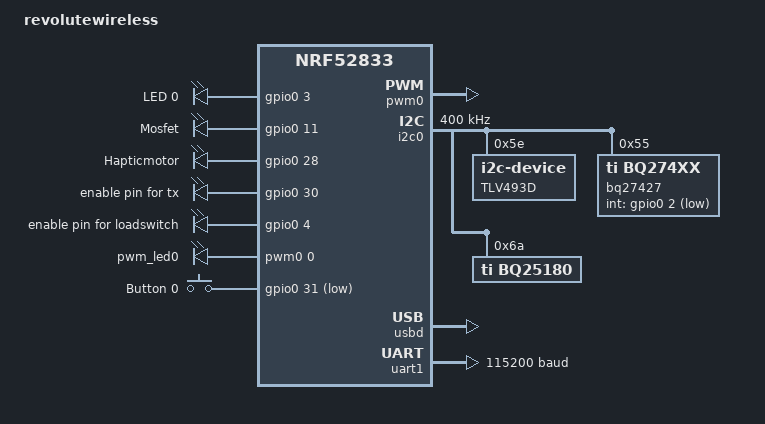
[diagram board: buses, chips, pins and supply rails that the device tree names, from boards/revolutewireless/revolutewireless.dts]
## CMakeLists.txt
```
# SPDX-License-Identifier: Apache-2.0

cmake_minimum_required(VERSION 3.20.0)

find_package(Zephyr REQUIRED HINTS $ENV{ZEPHYR_BASE})
project(Revolute)


add_subdirectory(src)


zephyr_include_directories(src)
zephyr_include_directories(config)
```

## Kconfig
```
#
# Copyright (c) 2020 Nordic Semiconductor ASA
#
# SPDX-License-Identifier: LicenseRef-Nordic-5-Clause
#

menu "I2C Scanner settings"
config I2C_SCAN_ADDR_START
	int "First address to start scanning I2C devices."
	default 8

config I2C_SCAN_ADDR_STOP
	int "Last address for scanning I2C devices."
	default 127
endmenu

module = I2CScanner
module-str = I2C Scanner Demo Application
source "${ZEPHYR_BASE}/subsys/logging/Kconfig.template.log_config"

menu "Zephyr Kernel"
source "Kconfig.zephyr"
endmenu
```

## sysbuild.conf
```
# Sysbuild configuration file.

# Enable MCUboot per default for this sample.
# SB_CONFIG_BOOTLOADER_MCUBOOT=y
# SB_CONFIG_BOOT_SIGNATURE_KEY_FILE="bootloader/mcuboot/root-rsa-2048.pem"
```

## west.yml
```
manifest:
  remotes:
    - name: zephyrproject-rtos
      url-base: https://github.com/zephyrproject-rtos
  projects:
    - name: zephyr
      repo-path: zephyr
      remote: zephyrproject-rtos
      revision: main
      import:
        name-blocklist:
          - matter
          - nrf-802154
          - cjson
          - cmock
          - unity
          - cddl-gen
          - homekit
          - loramac-node
          - lz4
          - lvgl
          - hal_atmel
          - hal_espressif
          - hal_ethos_u
          - hal_altera
          - hal_quicklogic
          - hal_openisa
          - hal_rpi_pico
          - hal_renesas
          - hal_silabs
          - hal_st
          - hal_stm32
          - hal_infineon
          - hal_intel
          - hal_microchip
          - hal_ambiq
          - hal_altera
          - hal_adi
```

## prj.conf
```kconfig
CONFIG_LOG=y

CONFIG_PWM=y

CONFIG_LED=y

# CONFIG_LOG_MODE_IMMEDIATE=y

CONFIG_I2C=y

# Picolibc, not newlib: the OTA build has to fit in slot0 (220 KB usable) and
# newlib costs ~22 KB more, which overflows the slot. Float printf is off with
# it; logging is disabled here anyway, so re-enable CONFIG_PICOLIBC_IO_FLOAT=y
# for bench builds that print floats.
CONFIG_PICOLIBC=y

CONFIG_PM=y
CONFIG_PM_DEVICE=y
CONFIG_PM_DEVICE_SHELL=y
CONFIG_POWEROFF=y

#Base bluetooth settings
# CONFIG_BT=y
# CONFIG_BT_SMP=y
# CONFIG_BT_SMP_SC_PAIR_ONLY=y
# CONFIG_BT_SMP_SC_ONLY=y
# CONFIG_BT_SMP_APP_PAIRING_ACCEPT=y

# CONFIG_BT_PERIPHERAL=y
# CONFIG_BT_DIS=y
CONFIG_BT_BAS=y
CONFIG_BT_DEVICE_NAME="Revolute"
# CONFIG_BT_DEVICE_APPEARANCE=962
CONFIG_BT_FILTER_ACCEPT_LIST=y
# CONFIG_BT_MAX_CONN=1
# CONFIG_BT_MAX_PAIRED=1
# CONFIG_BT_KEYS_OVERWRITE_OLDEST=y
# CONFIG_BT_SIGNING=y
# CONFIG_BT_ATT_PREPARE_COUNT=1


# CONFIG_BT_PRIVACY=n
# For bonding
CONFIG_BT_SETTINGS=y
CONFIG_NVS=y
CONFIG_SETTINGS_NVS=y
CONFIG_FLASH=y
CONFIG_FLASH_MAP=y
CONFIG_SETTINGS=y

# # Change bluetooth name
CONFIG_BT_DEVICE_NAME_DYNAMIC=y
CONFIG_BT_DEVICE_NAME_MAX=30
CONFIG_MAIN_STACK_SIZE=16384
CONFIG_BT_RX_STACK_SIZE=16384
CONFIG_SYSTEM_WORKQUEUE_STACK_SIZE=4096

CONFIG_BT=y
CONFIG_LOG=y
CONFIG_BT_SMP=y
CONFIG_BT_PERIPHERAL=y
# CONFIG_BT_DIS=y
# CONFIG_BT_BAS=y
# CONFIG_BT_DEVICE_NAME="Test HoG mouse"
CONFIG_BT_DEVICE_APPEARANCE=962

# CONFIG_BT_LL_SW_SPLIT=y
# CONFIG_BT_CTLR_ASSERT_HANDLER=y
CONFIG_WATCHDOG=y
# Enable nRF52 watchdog driver
CONFIG_WDT_NRFX=y

# Optional: disable watchdog at boot (leave out to allow rebooting on crash)
CONFIG_WDT_DISABLE_AT_BOOT=n
CONFIG_SENSOR=y


#Charger ic
CONFIG_CHARGER=y
CONFIG_CHARGER_LOG_LEVEL_DBG=y
#CONFIG_GPIO=y
CONFIG_CHARGER_BQ25180=y

# CONFIG_UART_CONSOLE=n
# CONFIG_RTT_CONSOLE=y
# CONFIG_USE_SEGGER_RTT=y


CONFIG_LOG=n
CONFIG_LOG_MODE_IMMEDIATE=n
CONFIG_LOG_BACKEND_UART=n
CONFIG_LOG_BACKEND_SHOW_COLOR=n
CONFIG_SERIAL=n
CONFIG_USB_DEVICE_STACK=n
CONFIG_USB_CDC_ACM=n
CONFIG_USB_DEVICE_VID=0x6969
CONFIG_USB_DEVICE_PID=0x6969
CONFIG_USB_DEVICE_INITIALIZE_AT_BOOT=n
CONFIG_USB_DEVICE_MANUFACTURER="Tongtong.inc"
CONFIG_USB_DEVICE_PRODUCT="Revolute"
CONFIG_CONSOLE=n
CONFIG_UART_CONSOLE=n
CONFIG_PRINTK=n
CONFIG_STDOUT_CONSOLE=n
CONFIG_CBPRINTF_FP_SUPPORT=n


# CONFIG_LOG=y
# CONFIG_LOG_MODE_IMMEDIATE=y
# CONFIG_LOG_BACKEND_UART=y
# CONFIG_LOG_BACKEND_SHOW_COLOR=y
# CONFIG_SERIAL=y
# CONFIG_USB_DEVICE_STACK=y
# CONFIG_USB_CDC_ACM=y
# CONFIG_USB_DEVICE_VID=0x6969
# CONFIG_USB_DEVICE_PID=0x6969
# CONFIG_USB_DEVICE_INITIALIZE_AT_BOOT=y
# CONFIG_USB_DEVICE_MANUFACTURER="Tongtong.inc"
# CONFIG_USB_DEVICE_PRODUCT="Revolute"
# CONFIG_CONSOLE=y
# CONFIG_UART_CONSOLE=y
# CONFIG_PRINTK=y
# CONFIG_STDOUT_CONSOLE=y
# CONFIG_CBPRINTF_FP_SUPPORT=y



CONFIG_BT_GATT_CLIENT=y
CONFIG_BT_GATT_DYNAMIC_DB=y

# Buffers (new scheme for Zephyr 4.1+)
CONFIG_BT_BUF_ACL_TX_COUNT=10          
CONFIG_BT_BUF_EVT_RX_COUNT=12          

# ACL buffer size (max payload 251)
CONFIG_BT_BUF_ACL_TX_SIZE=251

# ATT / L2CAP tuning
CONFIG_BT_ATT_TX_COUNT=10
CONFIG_BT_L2CAP_TX_MTU=247
CONFIG_BT_DATA_LEN_UPDATE=y

# Connection interval for high throughput (min 7.5ms).
# A min==max range is commonly rejected outright by centrals, so advertise a
# range instead; ble.c re-requests explicitly if the granted interval is slower.
CONFIG_BT_PERIPHERAL_PREF_MIN_INT=6
CONFIG_BT_PERIPHERAL_PREF_MAX_INT=12
CONFIG_BT_PERIPHERAL_PREF_LATENCY=0
CONFIG_BT_PERIPHERAL_PREF_TIMEOUT=400

# Power
# REG1 DC/DC mode is enabled in the board devicetree (&reg1) and applied by the
# nRF52 SoC init from that property; no extra Kconfig needed.

# Fuel gauge power management. Without this the BQ27427 sits in its normal
# operating mode drawing ~100uA forever, which swamps the System OFF budget.
CONFIG_BQ274XX_PM=y

# ---------------------------------------------------------------------------
# OTA (MCUboot + MCUmgr over Bluetooth)
#
# Built with sysbuild, which pulls in MCUboot from sysbuild.conf. The image is
# signed and placed in slot0; mcumgr writes the update into slot1 and MCUboot
# swaps on the next boot. Flash layout comes from the board devicetree
# (boot/slot0/slot1/storage partitions).
# ---------------------------------------------------------------------------

# MCUmgr dependencies
CONFIG_NET_BUF=y
CONFIG_ZCBOR=y
CONFIG_CRC=y
CONFIG_MCUMGR=y
CONFIG_STREAM_FLASH=y
CONFIG_FLASH_PAGE_LAYOUT=y

# Produce an MCUboot-compatible (signed, confirmed) image named revolute.*
CONFIG_BOOTLOADER_MCUBOOT=y
CONFIG_MCUBOOT_GENERATE_CONFIRMED_IMAGE=y
CONFIG_KERNEL_BIN_NAME="revolute"

# Image management group — the one OTA actually needs
CONFIG_IMG_MANAGER=y
CONFIG_MCUMGR_GRP_IMG=y
CONFIG_MCUMGR_GRP_OS=y

# Bluetooth transport (unauthenticated, matching the previous OTA build)
CONFIG_MCUMGR_TRANSPORT_BT=y
CONFIG_MCUMGR_TRANSPORT_BT_PERM_RW=y
CONFIG_MCUMGR_TRANSPORT_BT_PERM_RW_AUTHEN=n
CONFIG_MCUMGR_TRANSPORT_BT_CONN_PARAM_CONTROL=y

# Packet reassembly keeps DFU throughput usable at the HID-tuned MTU above
CONFIG_MCUMGR_TRANSPORT_BT_REASSEMBLY=y
CONFIG_MCUMGR_TRANSPORT_NETBUF_SIZE=2475
CONFIG_MCUMGR_GRP_OS_MCUMGR_PARAMS=y
CONFIG_MCUMGR_TRANSPORT_WORKQUEUE_STACK_SIZE=4608
```

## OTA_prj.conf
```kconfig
CONFIG_GPIO=y


# Enable MCUmgr and dependencies.
CONFIG_NET_BUF=y
CONFIG_ZCBOR=y
CONFIG_CRC=y
CONFIG_MCUMGR=y
CONFIG_STREAM_FLASH=y
CONFIG_FLASH_MAP=y

# Some command handlers require a large stack.
CONFIG_SYSTEM_WORKQUEUE_STACK_SIZE=2304
CONFIG_MAIN_STACK_SIZE=2048

# Ensure an MCUboot-compatible binary is generated.
CONFIG_BOOTLOADER_MCUBOOT=y

# Required by the `taskstat` command.
CONFIG_THREAD_MONITOR=n

# Support for taskstat command
CONFIG_MCUMGR_GRP_OS_TASKSTAT=n

# Enable statistics and statistic names.
CONFIG_STATS=n
CONFIG_STATS_NAMES=n

# Enable most core commands.
CONFIG_FLASH=y
CONFIG_IMG_MANAGER=y
CONFIG_MCUMGR_GRP_IMG=y
CONFIG_MCUMGR_GRP_OS=y
CONFIG_MCUMGR_GRP_STAT=y

# Enable logging
CONFIG_LOG=y
CONFIG_MCUBOOT_UTIL_LOG_LEVEL_WRN=y

# Disable debug logging
CONFIG_LOG_MAX_LEVEL=3


CONFIG_BT=y
CONFIG_BT_PERIPHERAL=y
CONFIG_BT_DEVICE_NAME="Revolute"

#for bonding
CONFIG_BT_SETTINGS=y
CONFIG_NVS=y
CONFIG_SETTINGS=y
CONFIG_BT_SMP_SC_PAIR_ONLY=y
CONFIG_BT_MAX_PAIRED=3
# CONFIG_FLASH_PAGE_LAYOUT=y
CONFIG_BT_SMP=y
CONFIG_BT_MAX_CONN=1
CONFIG_BT_SMP_ALLOW_UNAUTH_OVERWRITE=y

# Allow for large Bluetooth data packets.
CONFIG_BT_L2CAP_TX_MTU=1000
CONFIG_BT_BUF_ACL_RX_SIZE=502
CONFIG_BT_BUF_ACL_TX_SIZE=502
CONFIG_BT_CTLR_DATA_LENGTH_MAX=251

# Enable the Bluetooth mcumgr transport (unauthenticated).
CONFIG_MCUMGR_TRANSPORT_BT=y
CONFIG_MCUMGR_TRANSPORT_BT_PERM_RW=y
CONFIG_MCUMGR_TRANSPORT_BT_PERM_RW_AUTHEN=n
CONFIG_MCUMGR_TRANSPORT_BT_CONN_PARAM_CONTROL=y


# Enable the mcumgr Packet Reassembly feature over Bluetooth and its configuration dependencies.
# MCUmgr buffer size is optimized to fit one SMP packet divided into five Bluetooth Write Commands,
# transmitted with the maximum possible MTU value: 498 bytes.
CONFIG_MCUMGR_TRANSPORT_BT_REASSEMBLY=y
CONFIG_MCUMGR_TRANSPORT_NETBUF_SIZE=2475
CONFIG_MCUMGR_GRP_OS_MCUMGR_PARAMS=y
CONFIG_MCUMGR_TRANSPORT_WORKQUEUE_STACK_SIZE=4608

# Enable the LittleFS file system.
# CONFIG_FILE_SYSTEM=y
# CONFIG_FILE_SYSTEM_LITTLEFS=y

# Enable file system commands
CONFIG_MCUMGR_GRP_FS=y

# Enable the storage erase command.
CONFIG_MCUMGR_GRP_ZBASIC=y
CONFIG_MCUMGR_GRP_ZBASIC_STORAGE_ERASE=y

# Disable Bluetooth ping support
CONFIG_BT_CTLR_LE_PING=n

# Disable shell commands that are not needed
CONFIG_CLOCK_CONTROL_NRF_SHELL=n
CONFIG_DEVICE_SHELL=n
CONFIG_DEVMEM_SHELL=n
CONFIG_FLASH_SHELL=n

#MCUBoot
CONFIG_BOOTLOADER_MCUBOOT=y
CONFIG_MCUBOOT_GENERATE_CONFIRMED_IMAGE=y
CONFIG_KERNEL_BIN_NAME="revolute"

#logging
CONFIG_LOG=y
CONFIG_LOG_MODE_IMMEDIATE=y
CONFIG_LOG_BACKEND_UART=y
CONFIG_LOG_BACKEND_SHOW_COLOR=y
CONFIG_SERIAL=n
CONFIG_USB_DEVICE_STACK=n #disable when run out of rom
CONFIG_USB_CDC_ACM=n
CONFIG_USB_DEVICE_VID=0x6969
CONFIG_USB_DEVICE_PID=0x6969
CONFIG_USB_DEVICE_INITIALIZE_AT_BOOT=y
CONFIG_USB_DEVICE_MANUFACTURER="Tongtong.inc"
CONFIG_USB_DEVICE_PRODUCT="Revolute"
CONFIG_CONSOLE=y
CONFIG_UART_CONSOLE=y
CONFIG_PRINTK=n
CONFIG_STDOUT_CONSOLE=n

# CONFIG_THREAD_STACK_INFO=n
# CONFIG_THREAD_CUSTOM_DATA=n
# CONFIG_FPU=n
# CONFIG_SPI=n
# CONFIG_DYNAMIC_INTERRUPTS=n
# CONFIG_IRQ_OFFLOAD=n
# CONFIG_WATCHDOG=n
# CONFIG_SIZE_OPTIMIZATIONS=y
# CONFIG_ARM_MPU=n
# CONFIG_I2C=y
# CONFIG_SENSOR=y
```

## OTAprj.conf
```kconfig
CONFIG_GPIO=y


# Enable MCUmgr and dependencies.
CONFIG_NET_BUF=y
CONFIG_ZCBOR=y
CONFIG_CRC=y
CONFIG_MCUMGR=y
CONFIG_STREAM_FLASH=y
CONFIG_FLASH_MAP=y

# Some command handlers require a large stack.
CONFIG_SYSTEM_WORKQUEUE_STACK_SIZE=2304
CONFIG_MAIN_STACK_SIZE=4096

# Ensure an MCUboot-compatible binary is generated.
CONFIG_BOOTLOADER_MCUBOOT=y

# Required by the `taskstat` command.
CONFIG_THREAD_MONITOR=y

# Support for taskstat command
CONFIG_MCUMGR_GRP_OS_TASKSTAT=y

# Enable statistics and statistic names.
CONFIG_STATS=y
CONFIG_STATS_NAMES=y

# Enable most core commands.
CONFIG_FLASH=y
CONFIG_IMG_MANAGER=y
CONFIG_MCUMGR_GRP_IMG=y
CONFIG_MCUMGR_GRP_OS=y
CONFIG_MCUMGR_GRP_STAT=y

# Enable logging
CONFIG_LOG=y
CONFIG_MCUBOOT_UTIL_LOG_LEVEL_WRN=y

# Disable debug logging
CONFIG_LOG_MAX_LEVEL=4


CONFIG_BT=y
CONFIG_BT_PERIPHERAL=y
CONFIG_BT_DEVICE_NAME="Revolute"

#for bonding
CONFIG_BT_SETTINGS=y
CONFIG_NVS=y
CONFIG_SETTINGS=y
CONFIG_BT_SMP_SC_PAIR_ONLY=y
CONFIG_SETTINGS_NVS=y
CONFIG_BT_MAX_PAIRED=3
CONFIG_FLASH_PAGE_LAYOUT=y
CONFIG_BT_SMP=y
CONFIG_BT_MAX_CONN=1
# CONFIG_BT_SMP_ALLOW_UNAUTH_OVERWRITE=y

# Allow for large Bluetooth data packets.
CONFIG_BT_L2CAP_TX_MTU=1000
CONFIG_BT_BUF_ACL_RX_SIZE=502
CONFIG_BT_BUF_ACL_TX_SIZE=502
CONFIG_BT_CTLR_DATA_LENGTH_MAX=251

# Enable the Bluetooth mcumgr transport (unauthenticated).
CONFIG_MCUMGR_TRANSPORT_BT=y
CONFIG_MCUMGR_TRANSPORT_BT_PERM_RW=y
CONFIG_MCUMGR_TRANSPORT_BT_PERM_RW_AUTHEN=n
CONFIG_MCUMGR_TRANSPORT_BT_CONN_PARAM_CONTROL=y


# Enable the mcumgr Packet Reassembly feature over Bluetooth and its configuration dependencies.
# MCUmgr buffer size is optimized to fit one SMP packet divided into five Bluetooth Write Commands,
# transmitted with the maximum possible MTU value: 498 bytes.
CONFIG_MCUMGR_TRANSPORT_BT_REASSEMBLY=y
CONFIG_MCUMGR_TRANSPORT_NETBUF_SIZE=2475
CONFIG_MCUMGR_GRP_OS_MCUMGR_PARAMS=y
CONFIG_MCUMGR_TRANSPORT_WORKQUEUE_STACK_SIZE=4608

# Enable the LittleFS file system.
# CONFIG_FILE_SYSTEM=y
# CONFIG_FILE_SYSTEM_LITTLEFS=y

# Enable file system commands
CONFIG_MCUMGR_GRP_FS=y

# Enable the storage erase command.
CONFIG_MCUMGR_GRP_ZBASIC=y
CONFIG_MCUMGR_GRP_ZBASIC_STORAGE_ERASE=y

# Disable Bluetooth ping support
CONFIG_BT_CTLR_LE_PING=n

# Disable shell commands that are not needed
CONFIG_CLOCK_CONTROL_NRF_SHELL=n
CONFIG_DEVICE_SHELL=n
CONFIG_DEVMEM_SHELL=n
CONFIG_FLASH_SHELL=n

#MCUBoot
CONFIG_BOOTLOADER_MCUBOOT=y
CONFIG_MCUBOOT_GENERATE_CONFIRMED_IMAGE=y
CONFIG_KERNEL_BIN_NAME="revolute"

#logging
CONFIG_LOG=n
CONFIG_LOG_MODE_IMMEDIATE=n
CONFIG_LOG_BACKEND_UART=n
CONFIG_LOG_BACKEND_SHOW_COLOR=n
CONFIG_SERIAL=n
CONFIG_USB_DEVICE_STACK=n
CONFIG_USB_CDC_ACM=n
CONFIG_USB_DEVICE_VID=0x6969
CONFIG_USB_DEVICE_PID=0x6969
CONFIG_USB_DEVICE_INITIALIZE_AT_BOOT=n
CONFIG_USB_DEVICE_MANUFACTURER="Tongtong.inc"
CONFIG_USB_DEVICE_PRODUCT="Revolute"
CONFIG_CONSOLE=n
CONFIG_UART_CONSOLE=n
CONFIG_PRINTK=n
CONFIG_STDOUT_CONSOLE=n

# Increased stack due to settings API usage
CONFIG_SYSTEM_WORKQUEUE_STACK_SIZE=2048

CONFIG_BT=y
CONFIG_LOG=y
CONFIG_BT_SMP=y
CONFIG_BT_PERIPHERAL=y
CONFIG_BT_DIS=y
CONFIG_BT_BAS=y
CONFIG_BT_DEVICE_NAME="Revolute"
CONFIG_BT_DEVICE_APPEARANCE=962

CONFIG_BT_SETTINGS=y
CONFIG_FLASH=y
CONFIG_FLASH_MAP=y
CONFIG_NVS=y
CONFIG_SETTINGS=y

CONFIG_GPIO=y
```

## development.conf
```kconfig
#logging
CONFIG_LOG=y
# CONFIG_LOG_BACKEND_UART=y
CONFIG_LOG_BACKEND_SHOW_COLOR=y
CONFIG_SERIAL=y
# CONFIG_USB_DEVICE_STACK=y
# CONFIG_USB_CDC_ACM=y
# CONFIG_USB_DEVICE_VID=0x6969
# CONFIG_USB_DEVICE_PID=0x6969
# CONFIG_USB_DEVICE_INITIALIZE_AT_BOOT=y
# CONFIG_USB_DEVICE_MANUFACTURER="Tongtong.inc"
# CONFIG_USB_DEVICE_PRODUCT="Revolute"
CONFIG_CONSOLE=y
CONFIG_UART_CONSOLE=n
CONFIG_LOG_PRINTK=y
CONFIG_USE_SEGGER_RTT=y
CONFIG_RTT_CONSOLE=y
CONFIG_PRINTK=y
CONFIG_STDOUT_CONSOLE=n

# Increased stack due to settings API usage
CONFIG_SYSTEM_WORKQUEUE_STACK_SIZE=2048

#Base bluetooth settings
#CONFIG_BT=y
#CONFIG_BT_SMP=y
#CONFIG_BT_PERIPHERAL=y
#CONFIG_BT_DIS=y
#CONFIG_BT_BAS=y
#CONFIG_BT_DEVICE_NAME="Revolute"
#CONFIG_BT_DEVICE_APPEARANCE=962
#CONFIG_BT_FILTER_ACCEPT_LIST=y
#CONFIG_BT_MAX_CONN=1
#CONFIG_BT_MAX_PAIRED=3
# CONFIG_BT_KEYS_OVERWRITE_OLDEST=y
#CONFIG_BT_SIGNING=y
#CONFIG_BT_ATT_PREPARE_COUNT=1
#CONFIG_BT_SMP_SC_PAIR_ONLY=y
#CONFIG_BT_SMP_APP_PAIRING_ACCEPT=y

# For bonding
CONFIG_BT_SETTINGS=y
CONFIG_FLASH=y
CONFIG_FLASH_MAP=y
CONFIG_NVS=y
CONFIG_SETTINGS=y
CONFIG_SETTINGS_NVS=y

#Revolute System
CONFIG_I2C=y
CONFIG_SENSOR=y
CONFIG_PWM=y
CONFIG_LED=y
CONFIG_LED_PWM=y

CONFIG_PM=y
CONFIG_PM_DEVICE=y
CONFIG_PM_DEVICE_SHELL=y
CONFIG_POWEROFF=y

# Change bluetooth name
CONFIG_BT_DEVICE_NAME_DYNAMIC=y
CONFIG_BT_DEVICE_NAME_MAX=30

CONFIG_BT_BUF_ACL_TX_SIZE=100
CONFIG_BT_BUF_ACL_TX_COUNT=10
CONFIG_BT_BUF_EVT_RX_SIZE=100
CONFIG_BT_BUF_EVT_RX_COUNT=10
CONFIG_HEAP_MEM_POOL_SIZE=8192

CONFIG_CBPRINTF_FP_SUPPORT=y

#Charger ic
CONFIG_CHARGER=y
CONFIG_CHARGER_LOG_LEVEL_DBG=y
#CONFIG_GPIO=y
CONFIG_CHARGER_BQ25180=y
```

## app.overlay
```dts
/*
 * Copyright (c) 2021 Nordic Semiconductor ASA
 *
 * SPDX-License-Identifier: Apache-2.0
 */

/ {
	chosen {
		zephyr,console = &cdc_acm_uart0;
	};
};

&zephyr_udc0 {
	cdc_acm_uart0: cdc_acm_uart0 {
		compatible = "zephyr,cdc-acm-uart";
	};
};
```

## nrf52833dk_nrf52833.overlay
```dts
// To get started, press Ctrl+Space (or Option+Esc) to bring up the completion menu and view the available nodes.

// You can also use the buttons in the sidebar to perform actions on nodes.
// Actions currently available include:

// * Enabling / disabling the node
// * Adding the bus to a bus
// * Removing the node
// * Connecting ADC channels

// For more help, browse the DeviceTree documentation at https://docs.zephyrproject.org/latest/guides/dts/index.html
// You can also visit the nRF DeviceTree extension documentation at https://docs.nordicsemi.com/bundle/nrf-connect-vscode/page/guides/ncs_configure_app.html#devicetree-support-in-the-extension


/ {
    aliases {
        led4 = &my_led4;
        hap0 = &haptics;
        txen = &txen;
        loaden = &loaden;
    };

    leds {
        compatible = "gpio-leds";
        my_led4: led_4 {
            gpios = <&gpio0 5 GPIO_ACTIVE_LOW>; /* P0.05 */
            label = "User LED 4";
        };

        haptics: haptics_0 {
            gpios = <&gpio0 28 GPIO_ACTIVE_HIGH>;
            label = "Hapticmotor";
        };

        txen: tx_en {
            gpios = <&gpio0 30 GPIO_ACTIVE_HIGH>;
            label = "enable pin for tx";
        };

        loaden: load_en {
            gpios = <&gpio0 4 GPIO_ACTIVE_HIGH>;
            label = "enable pin for loadswitch";
        };
    };
};

&i2c0 {

    TLV493: TLV493@1f {
        compatible = "i2c-device";
        reg = <0x1f>;
        label = "TLV493D";
        status = "okay";
 
    };

    bq27427: bq27427@55 {
		compatible = "ti,bq274xx";
		reg = <0x55>;
		design-voltage = <3700>;
		design-capacity = <70>;
		taper-current = <2>;
		terminate-voltage = <3300>;
		int-gpios = <&gpio0 2 (GPIO_ACTIVE_LOW | GPIO_PULL_UP)>;
		status = "okay";

	};
	
	// bq25180: bq25180@6a {  // Update the I2C address if different
    //     compatible = "ti,bq25180";
    //     reg = <0x6a>;  // I2C address of BQ25180
    //     constant-charge-current-max-microamp = <100000>; // 100mA
    //     constant-charge-voltage-max-microvolt = <4200000>; // 4.2V
    //     precharge-voltage-threshold-microvolt = <3000000>; // 3.0V
    //     re-charge-voltage-microvolt = <4100000>; // 4.1V
	// 	// int-gpios = <&gpio0 20 (GPIO_ACTIVE_LOW | GPIO_PULL_UP)>;
	// };

	bq25180: bq25180@6a {
        compatible = "ti,bq25180";
        reg = <0x6a>;
        label = "BQ25180";
        constant-charge-current-max-microamp = <40000>; // 40 mA
        constant-charge-voltage-max-microvolt = <4200000>; // 4.2 V
        re-charge-voltage-microvolt = <4100000>; // Optional
        precharge-voltage-threshold-microvolt = <2800000>; // Optional
    };
};


&egu0 {
    status = "disabled";
};

&ccm {
    status = "disabled";
};

&uart1 {
	pinctrl-0 = <&uart1_default>;
	pinctrl-1 = <&uart1_sleep>;
	pinctrl-names = "default", "sleep";
	status = "okay";
	current-speed = <115200>;
};
```

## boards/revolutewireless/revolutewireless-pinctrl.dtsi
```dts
/*
 * Copyright (c) 2022 Nordic Semiconductor
 * SPDX-License-Identifier: Apache-2.0
 */

&pinctrl {
	uart0_default: uart0_default {
		group1 {
			psels = <NRF_PSEL(UART_TX, 0, 6)>,
				<NRF_PSEL(UART_RX, 1, 8)>;
		};
	};

	uart0_sleep: uart0_sleep {
		group1 {
			psels = <NRF_PSEL(UART_TX, 0, 6)>,
				<NRF_PSEL(UART_RX, 1, 8)>;
			low-power-enable;
		};
	};
	uart1_default: uart1_default {
		group1 {
			psels = <NRF_PSEL(UART_TX, 0, 5)>,
			<NRF_PSEL(UART_RX, 1, 9)>;
		};
	};

	uart1_sleep: uart1_sleep {
		group1 {
			psels = <NRF_PSEL(UART_TX, 0, 5)>,
			<NRF_PSEL(UART_RX, 1, 9)>;
			low-power-enable;
		};
	};

	i2c0_default: i2c0_default {
		group1 {
			psels = <NRF_PSEL(TWIM_SDA, 0, 17)>,
				<NRF_PSEL(TWIM_SCL, 0, 15)>;
		};
	};

	i2c0_sleep: i2c0_sleep {
		group1 {
			psels = <NRF_PSEL(TWIM_SDA, 0, 17)>,
				<NRF_PSEL(TWIM_SCL, 0, 15)>;
			low-power-enable;
		};
	};

	pwm1_default: pwm1_default {
		group1 {
			psels = <NRF_PSEL(PWM_OUT0, 0, 29)>;

		};
	};

	pwm1_sleep: pwm1_sleep {
		group1 {
			psels = <NRF_PSEL(PWM_OUT0, 0, 29)>;
			low-power-enable;
		};
	};
};
```

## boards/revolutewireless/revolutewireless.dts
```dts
/dts-v1/;
#include <nordic/nrf52833_qiaa.dtsi>
#include "revolutewireless-pinctrl.dtsi"
#include <zephyr/dt-bindings/regulator/nrf5x.h>

/ {
	model = "revolutewireless";
	compatible = "revolutewireless";

	chosen {
		zephyr,console = &cdc_acm_uart0;
		zephyr,shell-uart = &uart0;
		zephyr,uart-mcumgr = &uart0;
		zephyr,sram = &sram0;
		zephyr,flash = &flash0;
		zephyr,code-partition = &slot0_partition;
		zephyr,settings-partition = &storage_partition;

	};

	
	leds {
			compatible = "gpio-leds";
			blueled: led_0 {
					/* LED 0 on P0.03, LED on when pin is high */
					gpios = < &gpio0 3 GPIO_ACTIVE_HIGH >;
					label = "LED 0";
			};
			mosfet: mosfet_0 {
				/* LED 0 on P0.03, LED on when pin is high */
				gpios = < &gpio0 11 GPIO_ACTIVE_HIGH >;
				label = "Mosfet";
			};
			haptics: haptics_0 {
				/* LED 0 on P0.03, LED on when pin is high */
				gpios = < &gpio0 28 GPIO_ACTIVE_HIGH >;
				label = "Hapticmotor";
			};
			txen: tx_en {
				/* LED 0 on P0.03, LED on when pin is high */
				gpios = < &gpio0 30 GPIO_ACTIVE_HIGH >;
				label = "enable pin for tx";
			};
			loaden: load_en {
				/* LED 0 on P0.03, LED on when pin is high */
				gpios = < &gpio0 4 GPIO_ACTIVE_HIGH >;
				label = "enable pin for loadswitch";
			};

			


	};

	pwmleds {
		compatible = "pwm-leds";
		pwm_led0: pwm_led_0 {
			pwms = <&pwm0 0 PWM_USEC(1000) PWM_POLARITY_NORMAL>;
		};
	};




	buttons {
			compatible = "gpio-keys";
			/*
				* Add up to 4 total buttons in child nodes as shown here.
				*/
			button_right: button_0 {
					/* Button 0 on P0.11. Enable internal SoC pull-up
						* resistor and treat low level as pressed button. */
				gpios = <&gpio0 31 (GPIO_PULL_UP | GPIO_ACTIVE_LOW)>;
				label = "Button 0";
			};
			// button_left: button_1 {
			// 		/* Button 1 on P0.12. Enable internal pull-down resistor.
			// 			* Treat high level as pressed button. */
			// 	gpios = <&gpio0 29 (GPIO_PULL_UP | GPIO_ACTIVE_LOW)>;
			// 	label = "Button 1";
			// };
			// button_up: button_2 {
			// 		/* Button 2 on P1.12, enable internal pull-up,
			// 			* low level is pressed. */
			// 	gpios = <&gpio0 30 (GPIO_PULL_UP | GPIO_ACTIVE_LOW)>;
			// 	label = "Button 2";
			// };
			// button_down: button_3 {
			// 		/* Button 3 on P1.15, no internal pull resistor,
			// 			* low is pressed. */
			// 	gpios = <&gpio0 28 (GPIO_PULL_UP | GPIO_ACTIVE_LOW)>;
			// 	label = "Button 3";
			// };
		
	};


	

	/* These aliases are provided for compatibility with samples */
	aliases {
		// pwmled = &pwm0;
		mosfet = &mosfet;
		pwm-led0 = &pwm_led0;
		led0 = &blueled;
		sw0 = &button_right;
		hap0 = &haptics;
		txen = &txen;
		loaden = &loaden;
		// sw1 = &button_left;
		// sw2 = &button_up;
		// sw3 = &button_down;
		// asdir = &AS5600_DIR;
		// asout = &AS5600_OUT;
		watchdog0 = &wdt0;
		bq25180 = &bq25180;

	};
};

/* Run REG1 as a buck converter rather than an LDO. The DC/DC inductor (L1) is
 * populated on the Revolute PCB, and buck mode roughly halves active current. */
&reg1 {
	regulator-initial-mode = <NRF5X_REG_MODE_DCDC>;
};

&gpiote {
	status = "okay";
};

&gpio0 {
	status = "okay";
};

&gpio1 {
	status = "disabled";
};

&spi0 {
	status = "disabled";
};

&spi1 {
	status = "disabled";
};

&spi2 {
	status = "disabled";
};

&spi3 {
	status = "disabled";
};




 
&flash0 {
	partitions {
		compatible = "fixed-partitions";
		#address-cells = <1>;
		#size-cells = <1>;

		boot_partition: partition@0 {
			label = "mcuboot";
			reg = <0x00000000 0xC000>;
		};
		slot0_partition: partition@c000 {
			label = "image-0";
			reg = <0x0000C000 0x37000>;
		};
		slot1_partition: partition@43000 {
			label = "image-1";
			reg = <0x00043000 0x37000>;
		};
		storage_partition: partition@7a000 {
			label = "storage";
			reg = <0x0007A000 0x00006000>;
		};
	};
};

&pwm0 {
	status = "okay";
	pinctrl-0 = <&pwm1_default>;
	pinctrl-1 = <&pwm1_sleep>;
	pinctrl-names = "default", "sleep";
};

&i2c0 {

	status = "okay";

	clock-frequency = <I2C_BITRATE_FAST>;
	pinctrl-0 = <&i2c0_default>;
	pinctrl-1 = <&i2c0_sleep>;
	pinctrl-names = "default", "sleep";
	
	// as5600: as5600@36 {
	// 	compatible = "ams,as5600";
	// 	reg = <0x36>;
	// 	status = "okay";
	// };

	TLV493: TLV493@5e {
		compatible = "i2c-device";
		reg = <0x5e>;
		label = "TLV493D";
		status = "okay";

    };

	bq27427: bq27427@55 {
		compatible = "ti,bq274xx";
		reg = <0x55>;
		design-voltage = <3700>;
		design-capacity = <70>;
		taper-current = <2>;
		terminate-voltage = <2750>;
		int-gpios = <&gpio0 2 (GPIO_ACTIVE_LOW | GPIO_PULL_UP)>;
		status = "okay";

	};
	
	// bq25180: bq25180@6a {  // Update the I2C address if different
    //     compatible = "ti,bq25180";
    //     reg = <0x6a>;  // I2C address of BQ25180
    //     constant-charge-current-max-microamp = <100000>; // 100mA
    //     constant-charge-voltage-max-microvolt = <4200000>; // 4.2V
    //     precharge-voltage-threshold-microvolt = <3000000>; // 3.0V
    //     re-charge-voltage-microvolt = <4100000>; // 4.1V
	// 	// int-gpios = <&gpio0 20 (GPIO_ACTIVE_LOW | GPIO_PULL_UP)>;
	// };

	bq25180: bq25180@6a {
        compatible = "ti,bq25180";
        reg = <0x6a>;
        label = "BQ25180";
        constant-charge-current-max-microamp = <40000>; // 40 mA
        constant-charge-voltage-max-microvolt = <4200000>; // 4.2 V
        re-charge-voltage-microvolt = <4100000>; // Optional
        precharge-voltage-threshold-microvolt = <2800000>; // Optional
    };


};



zephyr_udc0: &usbd {
	compatible = "nordic,nrf-usbd";
	status = "okay";

	cdc_acm_uart0: cdc_acm_uart0 {
		compatible = "zephyr,cdc-acm-uart";
	};
	
};

&uart1 {
	pinctrl-0 = <&uart1_default>;
	pinctrl-1 = <&uart1_sleep>;
	pinctrl-names = "default", "sleep";
	status = "okay";
	current-speed = <115200>;
};
```

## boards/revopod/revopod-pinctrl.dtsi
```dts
/*
 * Copyright (c) 2022 Nordic Semiconductor
 * SPDX-License-Identifier: Apache-2.0
 */

&pinctrl {
	uart0_default: uart0_default {
		group1 {
			psels = <NRF_PSEL(UART_TX, 0, 20)>,
				<NRF_PSEL(UART_RX, 0, 17)>;
		};
	};

	uart0_sleep: uart0_sleep {
		group1 {
			psels = <NRF_PSEL(UART_TX, 0, 20)>,
				<NRF_PSEL(UART_RX, 0, 17)>;
			low-power-enable;
		};
	};

	i2c0_default: i2c0_default {
		group1 {
			psels = <NRF_PSEL(TWIM_SDA, 0, 12)>,
				<NRF_PSEL(TWIM_SCL, 0, 11)>;
		};
	};

	i2c0_sleep: i2c0_sleep {
		group1 {
			psels = <NRF_PSEL(TWIM_SDA, 0, 12)>,
				<NRF_PSEL(TWIM_SCL, 0, 11)>;
			low-power-enable;
		};
	};

	pwm1_default: pwm1_default {
		group1 {
			psels = <NRF_PSEL(PWM_OUT0, 1, 10)>;

		};
	};

	pwm1_sleep: pwm1_sleep {
		group1 {
			psels = <NRF_PSEL(PWM_OUT0, 1, 10)>;
			low-power-enable;
		};
	};
	// spi1_default: spi1_default {
    //     group1 {
    //         psels = <NRF_PSEL(SPIM_SCK, 0, 31)>,
    //             <NRF_PSEL(SPIM_MOSI, 0, 6)>,
    //             <NRF_PSEL(SPIM_MISO, 0, 2)>;
    //     };
    // };
	// spi1_sleep: spi1_sleep {
    //     group1 {
    //         psels = <NRF_PSEL(SPIM_SCK, 0, 31)>,
    //             <NRF_PSEL(SPIM_MOSI, 0, 6)>,
    //             <NRF_PSEL(SPIM_MISO, 0, 2)>;
    //         low-power-enable;
    //     };
	// };
	spi1_default: spi1_default {
        group1 {
            psels = <NRF_PSEL(SPIM_MOSI, 0, 6)>;
        };
    };

    spi1_sleep: spi1_sleep {
        group1 {
            psels = <NRF_PSEL(SPIM_MOSI, 0, 6)>;
            low-power-enable;
        };
    };
};
```

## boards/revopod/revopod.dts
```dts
/dts-v1/;
#include <nordic/nrf52840_qiaa.dtsi>
#include "revopod-pinctrl.dtsi"
#include <zephyr/dt-bindings/gpio/gpio.h>
#include <zephyr/dt-bindings/led/led.h>

/ {
	model = "revopod";
	compatible = "revopod";

	chosen {
		zephyr,console = &cdc_acm_uart0;
		zephyr,shell-uart = &uart0;
		zephyr,uart-mcumgr = &uart0;
		zephyr,sram = &sram0;
		zephyr,flash = &flash0;
		zephyr,code-partition = &slot0_partition;
		zephyr,settings-partition = &storage_partition;

	};

	
	leds {
			compatible = "gpio-leds";
			blueled: led_0 {
					/* LED 0 on P0.03, LED on when pin is high */
					gpios = < &gpio1 10 GPIO_ACTIVE_HIGH >;
					label = "LED 0";
			};
			mosfet: mosfet_0 {
				/* LED 0 on P0.03, LED on when pin is high */
				gpios = < &gpio0 11 GPIO_ACTIVE_HIGH >;
				label = "Mosfet";
		};
		gpio0_pin23: gpio0_pin23 {
			//compatible = "gpio-leds"; // or "gpio-keys" depending on your use
			gpios = <&gpio0 23 GPIO_ACTIVE_HIGH>;
			label = "GPIO0_PIN23";
		};
		gpio1_pin15: gpio1_pin15 {
			//compatible = "gpio-leds"; // or "gpio-keys" depending on your use
			gpios = <&gpio1 15 GPIO_ACTIVE_HIGH>;
			label = "GPIO1_PIN15";
		};

			


	};

	pwmleds {
		compatible = "pwm-leds";
		pwm_led0: pwm_led_0 {
			pwms = <&pwm0 0 PWM_USEC(1000) PWM_POLARITY_NORMAL>;
		};
	};





	buttons {
			compatible = "gpio-keys";
			/*
				* Add up to 4 total buttons in child nodes as shown here.
				*/

			button_down: button_3 {
					/* Button 3 on P1.15, no internal pull resistor,
						* low is pressed. */
				gpios = <&gpio1 8 (GPIO_PULL_UP | GPIO_ACTIVE_LOW)>;
				label = "Button 3";
			};

			Halleffect_down: button_2 {
				gpios = <&gpio0 15 (GPIO_PULL_UP | GPIO_ACTIVE_LOW)>;
				label = "Button 2";
			};
		
	};


	

	/* These aliases are provided for compatibility with samples */
	aliases {

		mosfet = &mosfet;
		pwm-led0 = &pwm_led0;
		led0 = &blueled;
		sw3 = &button_down;
		button0 = &button_down;
		led-strip = &led_strip;
		halleffect = &Halleffect_down;

	};
};

&gpiote {
	status = "okay";
};

&gpio0 {
	status = "okay";
};

&gpio1 {
	status = "okay";
};

&spi0 {
	status = "disabled";
};


&spi1 {
	status = "okay";
    compatible = "nordic,nrf-spim";
	pinctrl-0 = <&spi1_default>;
	pinctrl-1 = <&spi1_sleep>;
	pinctrl-names = "default", "sleep";

    led_strip: ws2812@0 {
        compatible = "worldsemi,ws2812-spi";

        /* SPI */
        reg = <0>; /* ignored, but necessary for SPI bindings */
		spi-max-frequency = <4000000>; /* 8 MHz, replace with the desired frequency */

        /* WS2812 */
        chain-length = <16>; /* arbitrary; change at will */
       spi-one-frame = <0x70>;
       spi-zero-frame = <0x40>;    
	   color-mapping = <LED_COLOR_ID_GREEN LED_COLOR_ID_RED LED_COLOR_ID_BLUE>;

	};
};

 

&spi2 {
	status = "disabled";
};


&spi3 {
	status = "disabled";
};


&flash0 {
	partitions {
		compatible = "fixed-partitions";
		#address-cells = <1>;
		#size-cells = <1>;

		boot_partition: partition@0 {
			label = "mcuboot";
			reg = <0x00000000 0xC000>;
		};
		slot0_partition: partition@c000 {
			label = "image-0";
			reg = <0x0000C000 0x37000>;
		};
		slot1_partition: partition@43000 {
			label = "image-1";
			reg = <0x00043000 0x37000>;
		};
		storage_partition: partition@7a000 {
			label = "storage";
			reg = <0x0007A000 0x00006000>;
		};
	};
};

&pwm0 {
	status = "okay";
	pinctrl-0 = <&pwm1_default>;
	pinctrl-1 = <&pwm1_sleep>;
	pinctrl-names = "default", "sleep";
};

&i2c0 {

	status = "okay";

	clock-frequency = <I2C_BITRATE_FAST>;
	pinctrl-0 = <&i2c0_default>;
	pinctrl-1 = <&i2c0_sleep>;
	pinctrl-names = "default", "sleep";
	
	as5600: as5600@36 {
		compatible = "ams,as5600";
		reg = <0x36>;
		status = "okay";
	};

	bq27427: bq27427@55 {
		compatible = "ti,bq274xx";
		reg = <0x55>;
		design-voltage = <3700>;
		design-capacity = <70>;
		taper-current = <90>;
		terminate-voltage = <3000>;
		int-gpios = <&gpio0 5 GPIO_ACTIVE_LOW>;
		status = "okay";

	};

};



zephyr_udc0: &usbd {
	compatible = "nordic,nrf-usbd";
	status = "okay";

	cdc_acm_uart0: cdc_acm_uart0 {
		compatible = "zephyr,cdc-acm-uart";
	};
	
};
```

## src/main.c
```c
#include <zephyr/kernel.h>
#include <zephyr/device.h>
#include <zephyr/drivers/watchdog.h>
#include <zephyr/sys/printk.h>
#include <zephyr/logging/log.h>

#include "sensor.h"
#include "power.h"
#include "statemanager.h"

LOG_MODULE_REGISTER(main, LOG_LEVEL_INF);

#define WDT_FEED_INTERVAL_MS 1000  // Feed every second
#define WDT_TIMEOUT_MS 3000        // Timeout: 3 seconds

int main(void)
{
    LOG_INF("Revolute starting");

    sensor_init();

    const struct device *wdt_dev;
    int wdt_channel_id;
    struct wdt_timeout_cfg wdt_config;

    wdt_dev = DEVICE_DT_GET(DT_ALIAS(watchdog0));
    if (!device_is_ready(wdt_dev)) {
        LOG_ERR("Watchdog not ready");
        return -ENODEV;
    }

    wdt_config.flags = WDT_FLAG_RESET_SOC;
    wdt_config.window.min = 0;
    wdt_config.window.max = WDT_TIMEOUT_MS;
    wdt_config.callback = NULL;  // No interrupt handler, just reset on timeout

    wdt_channel_id = wdt_install_timeout(wdt_dev, &wdt_config);
    if (wdt_channel_id < 0) {
        LOG_ERR("Failed to install watchdog timeout (err %d)", wdt_channel_id);
        return wdt_channel_id;
    }

    /* Pause the watchdog while the CPU is asleep. The device spends most of its
     * life idle, and a sleeping CPU is not a hung one -- letting the counter run
     * through idle would just force periodic wakeups to feed it. */
    if (wdt_setup(wdt_dev, WDT_OPT_PAUSE_IN_SLEEP) < 0) {
        LOG_ERR("Failed to start watchdog");
        return -EIO;
    }

    while (1) {
        wdt_feed(wdt_dev, wdt_channel_id);
        k_msleep(WDT_FEED_INTERVAL_MS);
    }

    return 0;
}
```

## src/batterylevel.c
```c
#include "batterylevel.h"

LOG_MODULE_REGISTER(BatteryLevel, LOG_LEVEL_INF);

static struct k_thread batteryUpdateThread_data;
K_THREAD_STACK_DEFINE(batteryUpdateThread_stack_area, STACKSIZE);



void batteryUpdateThread(void) {
    struct sensor_value voltage, current, state_of_charge,
        full_charge_capacity, remaining_charge_capacity, avg_power,
        int_temp, current_standby, current_max_load, state_of_health;

    const struct device *const bq = DEVICE_DT_GET_ONE(ti_bq274xx);

    if (!device_is_ready(bq)) {
        printk("Device %s is not ready\n", bq->name);
        return;
    }

    printk("Device is %p, name is %s\n", bq, bq->name);

    uint8_t level;

    while (1) {
        level = getbatterylevel(bq);

        LOG_INF("State of charge: %d%%\n", level);

        int err = bt_bas_set_battery_level(level);
        if (err) {
            LOG_INF("Can't send battery report, err: %d\n", err);
            return;
        }

        k_sleep(K_MSEC(1000));
    }
}

int getbatterylevel(const struct device *dev) {
    int status;
    struct sensor_value state_of_charge;

    status = sensor_sample_fetch_chan(dev, SENSOR_CHAN_GAUGE_STATE_OF_CHARGE);
    if (status < 0) {
        printk("Unable to fetch State of Charge\n");
        return 0;
    }

    status = sensor_channel_get(dev, SENSOR_CHAN_GAUGE_STATE_OF_CHARGE, &state_of_charge);
    if (status < 0) {
        printk("Unable to get state of charge\n");
        return 0;
    }

    return state_of_charge.val1;
}

void batteryThreadinit(void) {
    k_thread_create(&batteryUpdateThread_data, batteryUpdateThread_stack_area,
                    K_THREAD_STACK_SIZEOF(batteryUpdateThread_stack_area),
                    batteryUpdateThread, NULL, NULL, NULL,
                    PRIORITY, 0, K_FOREVER);
    k_thread_name_set(&batteryUpdateThread_data, "batterythread");

    k_thread_start(&batteryUpdateThread_data);
}
```

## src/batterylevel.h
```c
#ifndef BATTERYLEVEL_H
#define BATTERYLEVEL_H

#include <zephyr/kernel.h>
#include <zephyr/device.h>
#include <zephyr/drivers/sensor.h>
#include <zephyr/bluetooth/services/bas.h>
#include <zephyr/logging/log.h>

#define STACKSIZE 1024
#define PRIORITY 7

void batteryThreadinit(void);

#endif // BATTERYLEVEL_H
```

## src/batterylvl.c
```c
// #include "batterylvl.h"
#include <errno.h>
#include <zephyr/kernel.h>
#include <zephyr/device.h>
#include <zephyr/drivers/sensor.h>
#include <zephyr/bluetooth/services/bas.h>
#include <zephyr/logging/log.h>
#include <zephyr/pm/device.h>
#include "batterylvl.h"
#include <errno.h>

#define STACKSIZE 1024
#define PRIORITY 7

/* State of charge at or below which the device shuts itself down. */
#define BATTERY_EMPTY_PERCENT 2



LOG_MODULE_REGISTER(BatteryLevel, LOG_LEVEL_INF);
K_THREAD_STACK_DEFINE(batteryUpdateThread_stack_area, STACKSIZE);
static struct k_thread batteryUpdateThread_data;
const struct device *const bq = DEVICE_DT_GET_ONE(ti_bq274xx);

/* Forward declarations */
int getbatterylevel(const struct device *dev);
void batteryUpdateThread(void *p1, void *p2, void *p3);


/* The gauge is read from the sensor thread, which is the thread that owns the
 * I2C bus and knows when it is powered. This thread only brings the gauge back
 * out of shutdown at boot and then exits. */
void batteryUpdateThread(void *p1, void *p2, void *p3) {

    if (bq == NULL) {
        printk("Battery device not found (bq is NULL)\n");
        return;
    }

    if (!device_is_ready(bq)) {
        /* Avoid dereferencing bq->name when device isn't ready */
        printk("Battery device is not ready\n");
        return;
    }

    printk("Device is %p, name is %s\n", bq, bq->name);

    /* The gauge may have been left in shutdown mode by the previous power_off().
     * Shutdown is only exited by pulsing GPOUT, which is what RESUME does. */
    int pm_ret = pm_device_action_run(bq, PM_DEVICE_ACTION_RESUME);

    if (pm_ret && pm_ret != -EALREADY && pm_ret != -ENOTSUP) {
        LOG_WRN("Failed to wake fuel gauge (err %d)", pm_ret);
    }

    LOG_INF("Fuel gauge ready");
}

int getbatterylevel(const struct device *dev) {
    int status;
    struct sensor_value state_of_charge;

    status = sensor_sample_fetch_chan(dev, SENSOR_CHAN_GAUGE_STATE_OF_CHARGE);
    if (status < 0) {
        printk("Unable to fetch State of Charge\n");
        return 0;
    }

    status = sensor_channel_get(dev, SENSOR_CHAN_GAUGE_STATE_OF_CHARGE, &state_of_charge);
    if (status < 0) {
        printk("Unable to get state of charge\n");
        return 0;
    }

    return state_of_charge.val1;
}

int battery_read_percent(void) {
    if (bq == NULL || !device_is_ready(bq)) {
        return -ENODEV;
    }

    int level = getbatterylevel(bq);

    /* getbatterylevel() reports 0 on a failed read, which must not be confused
     * with a genuinely flat cell. */
    return (level <= 0) ? -EIO : level;
}

void battery_publish(int percent) {
    if (percent < 0) {
        return;
    }

    int err = bt_bas_set_battery_level((uint8_t)percent);

    if (err) {
        LOG_INF("Can't send battery report, err: %d", err);
    }
}

bool battery_level_is_empty(int percent) {
    return (percent > 0) && (percent <= BATTERY_EMPTY_PERCENT);
}

void sendbattery(void) {
  uint8_t level;
  level = getbatterylevel(bq);
  LOG_INF("State of charge: %d%%\n", level);

  int err = bt_bas_set_battery_level(level);
  if (err) {
      LOG_INF("Can't send battery report, err: %d\n", err);
      return;
  }
}

bool is_battery_empty(void) {

    if (!device_is_ready(bq)) {
        return false;
    }

    int level = getbatterylevel(bq);

    /* getbatterylevel() reports 0 when the read itself failed, so a failed read
     * must not be mistaken for a flat cell and trigger a shutdown. */
    if (level <= 0) {
        return false;
    }

    return level <= BATTERY_EMPTY_PERCENT;
}

void batteryThreadinit(void) {
    k_thread_create(&batteryUpdateThread_data, batteryUpdateThread_stack_area,
                    K_THREAD_STACK_SIZEOF(batteryUpdateThread_stack_area),
                    batteryUpdateThread, NULL, NULL, NULL,
                    PRIORITY, 0, K_NO_WAIT);

}

void battery_stop(void) {
    /* Abort the battery update thread to stop periodic fuel-gauge reads */
    k_thread_abort(&batteryUpdateThread_data);
}

void battery_shutdown(void) {
    if (bq == NULL || !device_is_ready(bq)) {
        return;
    }

    /* TURN_OFF maps to the driver's shutdown-mode sequence. Left in its normal
     * operating mode the BQ27427 draws ~100uA from the cell forever, which on
     * its own is ~100x the System OFF budget for the whole board. */
    int ret = pm_device_action_run(bq, PM_DEVICE_ACTION_TURN_OFF);

    if (ret && ret != -EALREADY) {
        LOG_WRN("Failed to shut down fuel gauge (err %d)", ret);
    } else {
        LOG_INF("Fuel gauge in shutdown mode");
    }
}

SYS_INIT(batteryThreadinit, APPLICATION, 50);
```

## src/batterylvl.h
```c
// batterylvl.h
#ifndef BATTERYLVL_H
#define BATTERYLVL_H

#include <zephyr/kernel.h>
#include <stdbool.h>

void batteryThreadinit(void);
void sendbattery(void);
bool is_battery_empty(void);

/* Read state of charge once. Returns a percentage, or a negative errno if the
 * gauge could not be read. Callers in the sensor loop use this instead of
 * is_battery_empty() + sendbattery(), which would fetch twice per interval. */
int battery_read_percent(void);

/* Publish an already-read level over the Battery Service. */
void battery_publish(int percent);

/* True if the given level means the cell is flat enough to shut down. */
bool battery_level_is_empty(int percent);
void battery_stop(void);

/* Put the fuel gauge into its shutdown mode. It is powered directly from the
 * cell, so it keeps drawing its ~100uA operating current through System OFF
 * unless it is explicitly shut down. */
void battery_shutdown(void);

#endif // BATTERYLVL_H
```

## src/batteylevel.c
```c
#include "batterylevel.h"

LOG_MODULE_REGISTER(BatteryLevel, LOG_LEVEL_INF);

static struct k_thread batteryUpdateThread_data;

void batteryUpdateThread(void) {
    struct sensor_value voltage, current, state_of_charge,
        full_charge_capacity, remaining_charge_capacity, avg_power,
        int_temp, current_standby, current_max_load, state_of_health;

    const struct device *const bq = DEVICE_DT_GET_ONE(ti_bq274xx);

    if (!device_is_ready(bq)) {
        printk("Device %s is not ready\n", bq->name);
        return;
    }

    printk("Device is %p, name is %s\n", bq, bq->name);

    uint8_t level;

    while (1) {
        level = getbatterylevel(bq);

        LOG_INF("State of charge: %d%%\n", level);

        int err = bt_bas_set_battery_level(level);
        if (err) {
            LOG_INF("Can't send battery report, err: %d\n", err);
            return;
        }

        k_sleep(K_MSEC(1000));
    }
}

int getbatterylevel(const struct device *dev) {
    int status;
    struct sensor_value state_of_charge;

    status = sensor_sample_fetch_chan(dev, SENSOR_CHAN_GAUGE_STATE_OF_CHARGE);
    if (status < 0) {
        printk("Unable to fetch State of Charge\n");
        return 0;
    }

    status = sensor_channel_get(dev, SENSOR_CHAN_GAUGE_STATE_OF_CHARGE, &state_of_charge);
    if (status < 0) {
        printk("Unable to get state of charge\n");
        return 0;
    }

    return state_of_charge.val1;
}

void batteryThreadinit(void) {
    K_THREAD_STACK_DEFINE(batteryUpdateThread_stack_area, STACKSIZE);
    k_thread_create(&batteryUpdateThread_data, batteryUpdateThread_stack_area,
                    K_THREAD_STACK_SIZEOF(batteryUpdateThread_stack_area),
                    batteryUpdateThread, NULL, NULL, NULL,
                    PRIORITY, 0, K_FOREVER);
    k_thread_name_set(&batteryUpdateThread_data, "batterythread");

    k_thread_start(&batteryUpdateThread_data);
}


SYS_INIT(batteryThreadinit, APPLICATION, 50);
```

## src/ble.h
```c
#ifndef BLE_H
#define BLE_H

#include <zephyr/bluetooth/addr.h>

#define ZMK_BLE_PROFILE_NAME_MAX 15

enum advertising_type {
    ADV_NONE,
    ADV_FILTER,
    ADV_CONN,
};
extern enum advertising_type advertising_status;

#define ZMK_BLE_PROFILE_COUNT CONFIG_BT_MAX_PAIRED

bool zmk_ble_active_profile_is_connected(void);
bool is_active_profile_any(void);
int remove_bonded_device(void);

int zmk_ble_set_device_name(char *name);

/* Stop advertising and shut the controller down (used on the way to System OFF). */
void disable_bluetooth(void);



#endif // BLE_H
```

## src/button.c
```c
#include <zephyr/kernel.h>
#include <zephyr/device.h>
#include <zephyr/drivers/i2c.h>
#include <zephyr/sys/printk.h>
#include <zephyr/devicetree.h>
#include <math.h>
#include <zephyr/kernel.h>
#include <stdio.h>
#include <zephyr/sys/printk.h>
// #include <zephyr/bluetooth/gatt.h>
#include <zephyr/logging/log.h>
#include <zephyr/drivers/gpio.h>
#include <zephyr/settings/settings.h>
#include "power.h"
#include "statemanager.h"
#include "button.h"
#include "ble.h"

LOG_MODULE_REGISTER(button, LOG_LEVEL_INF);

#define SW3_NODE DT_ALIAS(sw0)
static const struct gpio_dt_spec sw3 = GPIO_DT_SPEC_GET_OR(SW3_NODE, gpios, {0});

#define SINGLE_CLICK_TIMEOUT K_MSEC(400)
#define LONG_HOLD_THRESHOLD K_MSEC(700)
#define DEBOUNCE_TIME K_MSEC(50)

enum button_event {
    BUTTON_SINGLE_CLICK,
    BUTTON_DOUBLE_CLICK,
    BUTTON_TRIPLE_CLICK,
    BUTTON_LONG_HOLD,
};

// enum power_type power_status = PWR_ON;


// void cause_crash(void)
// {
//     printk("Causing deliberate crash (NULL pointer)...\n");

//     volatile int *ptr = NULL;
//     *ptr = 42;  // Boom: hard fault
// }


static struct k_work_delayable button_work;
static struct k_work_delayable long_hold_work;
static struct k_work_delayable debounce_work;
static int click_count = 0;
static bool long_hold_detected = false;
static int64_t press_start_time = 0;
static int64_t last_press_time = 0;

void handle_button_event(enum button_event event) {
    switch (event) {
    case BUTTON_SINGLE_CLICK:
        LOG_INF("Single Click detected!");
        // cause_crash();
        break;
    case BUTTON_DOUBLE_CLICK:
        LOG_INF("Double Click detected!");
        break;
    case BUTTON_TRIPLE_CLICK:
        LOG_INF("Triple Click detected!");
        remove_bonded_device();
        break;
    case BUTTON_LONG_HOLD:
        // power_status = PWR_OFF;
        LOG_INF("Long Hold detected! Turning off");
        isOff = true;
        
        power_off();

        
        // rev_state = STATE_OFF;
        
        
        
        break;
    default:
        LOG_WRN("Unknown button event!");
        break;
    }
}

void button_work_handler(struct k_work *work) {
    if (long_hold_detected) {
        long_hold_detected = false;
    } else {
        if (click_count == 1) {
            handle_button_event(BUTTON_SINGLE_CLICK);
        } else if (click_count == 2) {
            handle_button_event(BUTTON_DOUBLE_CLICK);
        } else if (click_count == 3) {
            handle_button_event(BUTTON_TRIPLE_CLICK);
        }
    }
    click_count = 0;
}

void long_hold_handler(struct k_work *work) {
    long_hold_detected = true;
    handle_button_event(BUTTON_LONG_HOLD);
}

void debounce_handler(struct k_work *work) {
    int64_t now = k_uptime_get();
    if (gpio_pin_get_dt(&sw3)) {
        press_start_time = now;
        long_hold_detected = false;
        k_work_reschedule(&long_hold_work, LONG_HOLD_THRESHOLD);
    } else {
        int64_t press_duration = now - press_start_time;
        k_work_cancel_delayable(&long_hold_work);
        if (!long_hold_detected) {
            click_count++;
            k_work_reschedule(&button_work, SINGLE_CLICK_TIMEOUT);
        }
    }
}

void button_pressed(const struct device *dev, struct gpio_callback *cb, uint32_t pins) {
    int64_t now = k_uptime_get();
    if (now - last_press_time > k_ticks_to_ms_floor64(DEBOUNCE_TIME.ticks)) {
        last_press_time = now;
        k_work_reschedule(&debounce_work, DEBOUNCE_TIME);
    }
}

static struct gpio_callback button_cb_data;

void button_uninit(void) {
    k_work_cancel_delayable(&button_work);
    k_work_cancel_delayable(&long_hold_work);
    k_work_cancel_delayable(&debounce_work);
    gpio_remove_callback(sw3.port, &button_cb_data);
    gpio_pin_interrupt_configure_dt(&sw3, GPIO_INT_DISABLE);
    LOG_INF("Button uninitialized.");
}

void button_init(void) {
    if (!device_is_ready(sw3.port)) {
        LOG_ERR("Button device %s not ready", sw3.port->name);
        return;
    }
    button_uninit();
    int ret = gpio_pin_configure_dt(&sw3, GPIO_INPUT);
    if (ret < 0) {
        LOG_ERR("Failed to configure button GPIO (err %d)", ret);
        return;
    }
    ret = gpio_pin_interrupt_configure_dt(&sw3, GPIO_INT_EDGE_BOTH);
    if (ret < 0) {
        LOG_ERR("Failed to configure button interrupt (err %d)", ret);
        return;
    }
    gpio_init_callback(&button_cb_data, button_pressed, BIT(sw3.pin));
    gpio_add_callback(sw3.port, &button_cb_data);
    k_work_init_delayable(&button_work, button_work_handler);
    k_work_init_delayable(&long_hold_work, long_hold_handler);
    k_work_init_delayable(&debounce_work, debounce_handler);
    LOG_INF("Button initialized.");
}

SYS_INIT(button_init, APPLICATION, 50);
```

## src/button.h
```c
#ifndef BUTTON_H
#define BUTTON_H

#include <zephyr/kernel.h>

void button_init(void);

/* Detach the interrupt and cancel any pending click/hold work. Called before
 * the button is re-armed as a System OFF wake source. */
void button_uninit(void);

#endif // BUTTON_H
```

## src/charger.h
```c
#ifndef CHARGER_H
#define CHARGER_H

void charger_stop(void);

#endif // CHARGER_H
```
